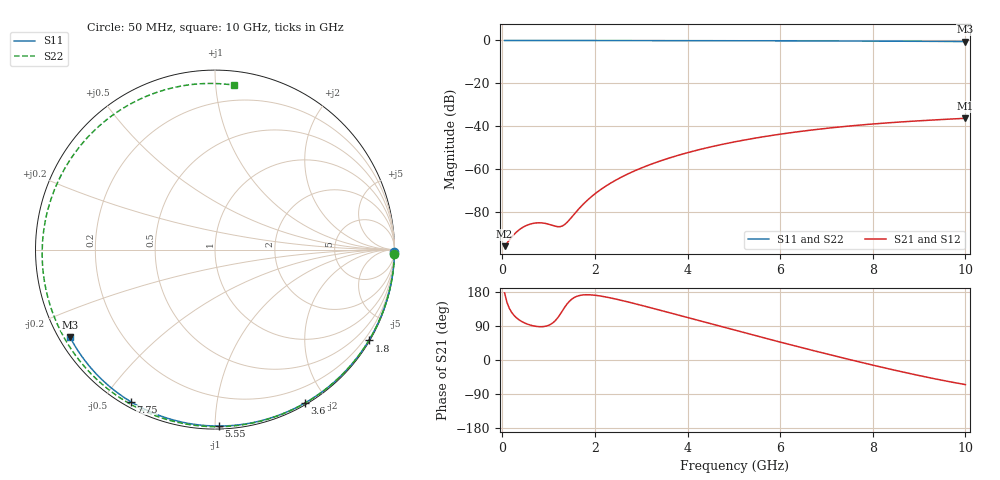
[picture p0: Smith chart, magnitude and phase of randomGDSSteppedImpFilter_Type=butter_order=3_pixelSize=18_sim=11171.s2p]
! freq	dB(S11)	phase(S11)	dB(S12)	phase(S12)
!  dB(S21)	phase(S21)	dB(S22)	phase(S22)
!S-par simulation data
#  GHz  S  DB  R 50
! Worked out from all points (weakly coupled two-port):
!   200 points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, 50 MHz to 10 GHz, reference 50 ohm
!   highest |S21| = -36.37 dB at 10 GHz (marker M1); lowest = -96.1 dB at 50 MHz (marker M2)
!   lowest |S11| = -0.5 dB at 10 GHz (marker M3), VSWR 34.53, Z = 1.56 - j14 ohm
!   |S11| at or under -10 dB: nowhere
!   |S22| runs from -0.7 to 0.0 dB; largest |S21 - S12| = 0
!   S11 on the Smith chart (normalised r, x): 50 MHz: open; 1.8 GHz: 0.03, -3.66; 3.6 GHz: 0.02, -1.75; 5.55 GHz: 0.02, -1.02; 7.75 GHz: 0.02, -0.59; 10 GHz: 0.03, -0.28
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0.05  -0.00 -0.9  -96.12 177.0  -96.12 177.0  -0.00 -1.5
0.8  -0.01 -13.7  -85.19 87.9  -85.19 87.9  -0.03 -24.1
1.6  -0.03 -27.2  -79.96 167.5  -79.96 167.5  -0.06 -47.4
1.75  -0.04 -29.7  -76.46 171.8  -76.46 171.8  -0.07 -51.7
1.8  -0.04 -30.6  -75.40 172.2  -75.40 172.2  -0.07 -53.1
2.1  -0.05 -35.5  -70.04 169.2  -70.04 169.2  -0.08 -61.5
2.45  -0.05 -41.3  -65.27 160.8  -65.27 160.8  -0.09 -71.2
2.9  -0.06 -48.5  -60.52 147.5  -60.52 147.5  -0.11 -83.3
3.4  -0.08 -56.5  -56.39 131.6  -56.39 131.6  -0.12 -96.4
3.6  -0.08 -59.6  -54.97 125.1  -54.97 125.1  -0.13 -101.5
4.3  -0.10 -70.3  -50.76 102.2  -50.76 102.2  -0.16 -119.1
5.05  -0.13 -81.5  -47.24 77.7  -47.24 77.7  -0.20 -137.6
5.55  -0.15 -88.7  -45.30 61.6  -45.30 61.6  -0.23 -149.8
6.15  -0.17 -97.2  -43.33 42.5  -43.33 42.5  -0.28 -164.5
6.7  -0.20 -104.8  -41.80 25.4  -41.80 25.4  -0.32 -178.3
7.25  -0.24 -112.3  -40.49 8.6  -40.49 8.6  -0.37 167.4
7.75  -0.28 -119.0  -39.48 -6.3  -39.48 -6.3  -0.42 153.9
8.35  -0.33 -127.0  -38.45 -23.5  -38.45 -23.5  -0.49 136.8
8.8  -0.37 -132.9  -37.80 -35.8  -37.80 -35.8  -0.54 123.2
9.25  -0.42 -138.8  -37.23 -47.4  -37.23 -47.4  -0.60 108.8
9.65  -0.46 -144.1  -36.76 -57.1  -36.76 -57.1  -0.65 95.5
10  -0.50 -148.7  -36.37 -64.9  -36.37 -64.9  -0.70 83.4
